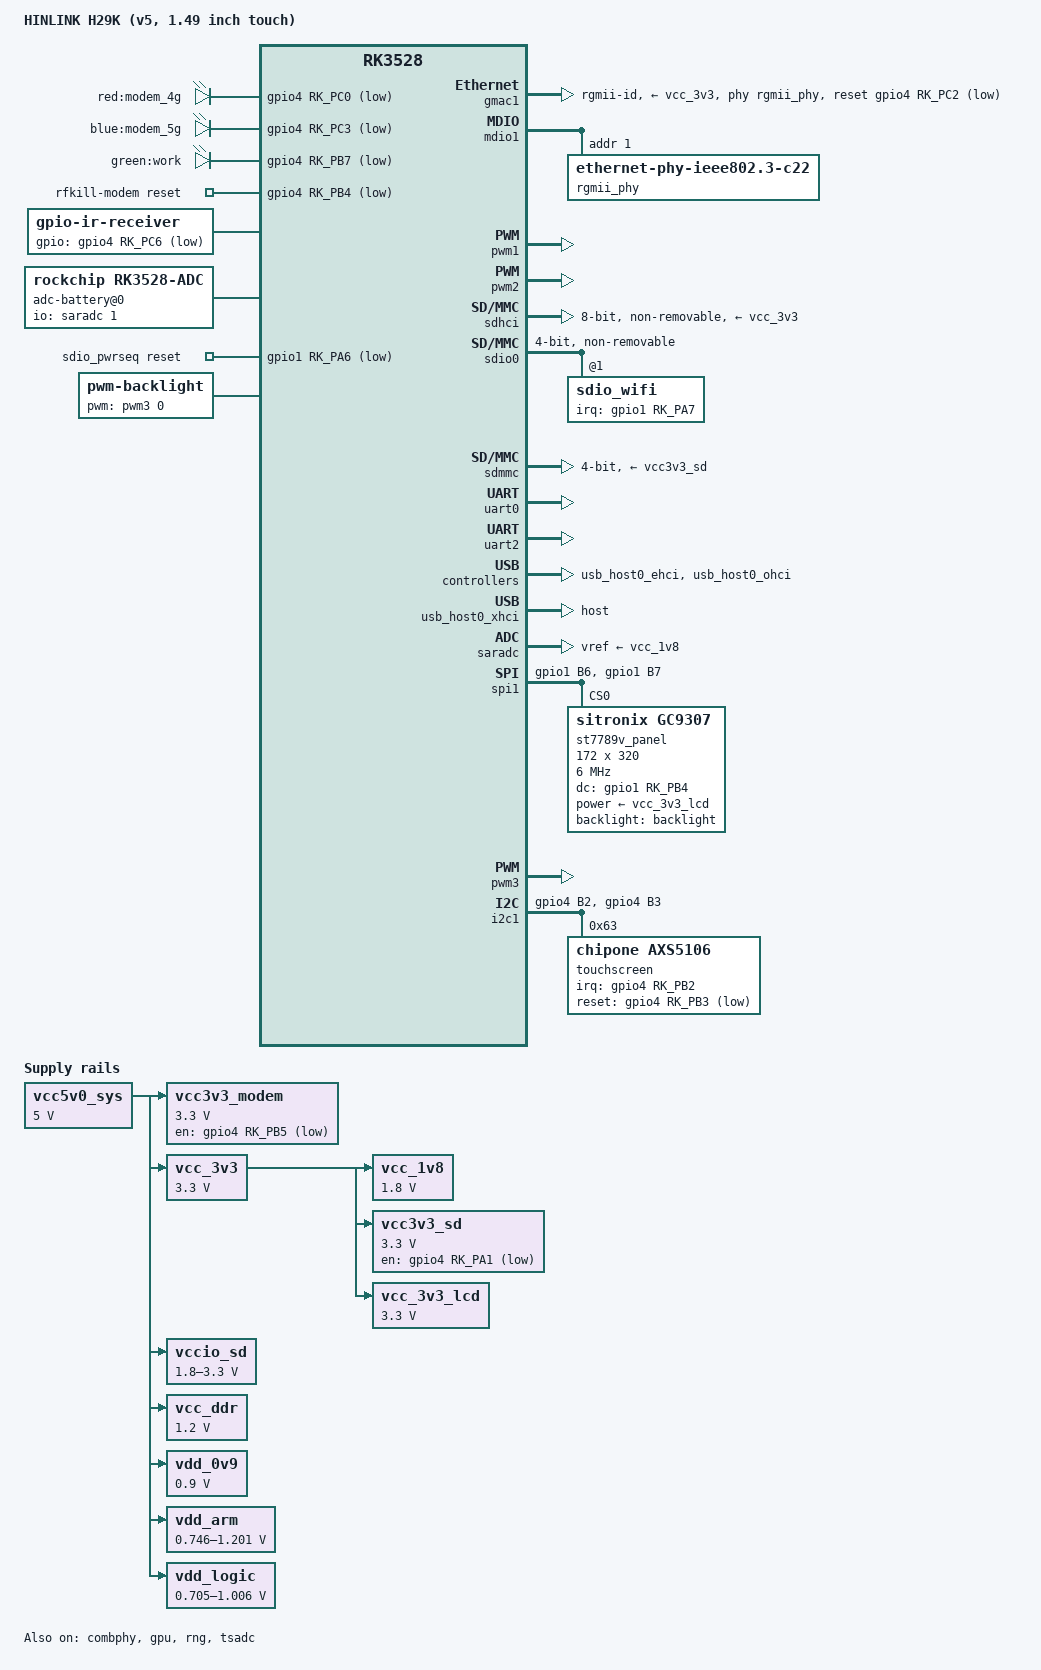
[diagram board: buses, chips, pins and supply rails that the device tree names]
// SPDX-License-Identifier: (GPL-2.0+ OR MIT)
/*
 * HinLink H29K —— v5 主板 + 1.49 寸电容触屏版（172x320 GC9307 + AXS5106）
 *
 * ★ 网络：**单网口** —— 只有板载 RGMII(gmac1)，无 PCIe 网卡节点。
 *   ⇒ board.d/02_network 对本机只映射 eth0。
 *
 * ★ 这是唯一有「真电容触控」的 H29K 变体：
 *   - 屏驱动 sitronix,gc9307（其余 H29K 都是 st7789v）
 *   - 触控 chipone,axs5106 @ I2C1 (0x63)，irq=GPIO4_B2，reset=GPIO4_B3
 *   - 背光从 GPIO 恒亮改成 pwm-backlight（pwm3 / GPIO4_B6，256 级）
 *   参数全部来自厂商 H29K-NEW-UI-20251029 固件解出的 dtb
 *   （已归档为 vendor-h29k-v5-1.49.dtb）。
 */

/dts-v1/;
#include <dt-bindings/gpio/gpio.h>
#include <dt-bindings/pinctrl/rockchip.h>

#include "rk3528.dtsi"

/ {
	model = "HINLINK H29K (v5, 1.49 inch touch)";
	compatible = "hinlink,h29k-v5-149", "hinlink,h29k", "rockchip,rk3528";

	aliases {
		mmc0 = &sdhci;
		mmc1 = &sdmmc;
		mmc2 = &sdio0;
		ethernet0 = &gmac1;

		led-boot = &led_work;
		led-failsafe = &led_work;
		led-running = &led_work;
		led-upgrade = &led_work;

		
	};

	chosen {
		stdout-path = "serial0:1500000n8";
	};

	leds {
		compatible = "gpio-leds";
		pinctrl-names = "default";
		pinctrl-0 = <&modem_4g_led>,<&modem_5g_led>, <&work_led_en>;

		modem_4g: modem_4g {
			label = "red:modem_4g";
			gpios = <&gpio4 RK_PC0 GPIO_ACTIVE_LOW>;
		};

		modem_5g: modem_5g {
			label = "blue:modem_5g";
			gpios = <&gpio4 RK_PC3 GPIO_ACTIVE_LOW>;
		};

		led_work: work {
			label = "green:work";
			gpios = <&gpio4 RK_PB7 GPIO_ACTIVE_LOW>;
		};
	};


	/*
	 * ============ 5G 模组：供电（regulator）+ 复位（rfkill-gpio）============
	 *
	 * 硬件（厂商 H29K 固件 dtb f3_318a000_40194.dtb，
	 * model="HINLINK H29K Board"，逐字段实证）：
	 *
	 *     rfkill-modem {
	 *         compatible = "rfkill-gpio";
	 *         type = "wwan";
	 *         reset-gpios = <&gpio4 RK_PB4 GPIO_ACTIVE_LOW>;   ← 复位
	 *         power-gpios = <&gpio4 RK_PB5 GPIO_ACTIVE_LOW>;   ← 供电
	 *     };
	 *
	 * 厂商这段**不能直接照抄**，两个坑：
	 *   1) `power-gpios` 在 6.18 上**没有任何实现** ——
	 *      net/rfkill/rfkill-gpio.c 只 request `reset` / `shutdown`。
	 *      ⇒ 供电脚 GPIO4_B5 得另找主人，本文件交给 vcc3v3_modem regulator。
	 *   2) 属性名变了：6.18 对 DT 节点读 `label` / `radio-type`，
	 *      厂商写的 `name` / `type` 会被忽略（type 退化成 RFKILL_TYPE_ALL，
	 *      按 type 就找不到设备）。
	 *
	 * 分工（详见 docs/HARDWARE.md §四、§4.9）：
	 *   · `vcc3v3_modem`（regulator，GPIO4_B5）—— 供电，常开
	 *   · `rfkill-modem`（rfkill-gpio，GPIO4_B4）—— 复位，**可软复位**
	 *       用户态：echo 0 > /sys/class/rfkill/rfkillN/state   （拉复位）
	 *               echo 1 > /sys/class/rfkill/rfkillN/state   （释放）
	 *       已封装成 `/etc/init.d/hinlink-modem-hardreset reset`。
	 *
	 * ★★ 极性：只由 `enable-active-high` 决定，不能凭 GPIO_ACTIVE_LOW 猜 ★★
	 *   6.18 的 drivers/gpio/gpiolib-of.c 里有一张极性映射表，注释原文：
	 *     "The regulator GPIO handles are specified such that the presence
	 *      or absence of enable-active-high solely controls the polarity of
	 *      the GPIO line. Any phandle flags must be actively ignored."
	 *   ⇒ 下面的 vcc3v3_modem **不写** enable-active-high = 低电平使能
	 *     （与厂商 rfkill 段里 GPIO_ACTIVE_LOW 表达的意图一致）。
	 *     写了 enable-active-high 会变成高电平使能，模组将无法上电。
	 */
	vcc3v3_modem: vcc3v3-modem {
		compatible = "regulator-fixed";
		regulator-name = "vcc3v3_modem";
		gpio = <&gpio4 RK_PB5 GPIO_ACTIVE_LOW>;   /* 仅语义标注，内核忽略 flag */
		regulator-always-on;
		regulator-boot-on;
		regulator-min-microvolt = <3300000>;
		regulator-max-microvolt = <3300000>;
		startup-delay-us = <5000>;                /* 电源稳定 5ms */
		vin-supply = <&vcc5v0_sys>;
		pinctrl-names = "default";
		pinctrl-0 = <&modem_power_en>;
	};

	/*
	 * ============ 5G 模组复位 —— 交给 rfkill-gpio，换来「软复位」============
	 *
	 * 供电仍由上面的 vcc3v3_modem regulator 负责（内核保证上电）；
	 * 复位脚 GPIO4_B4 交给 rfkill-gpio。
	 *
	 * ★ 为什么要交给 rfkill-gpio：regulator-fixed 和 rfkill-gpio 都会
	 *   **占用**这个 GPIO（用户态 export 必 EBUSY），但 rfkill-gpio 在
	 *   /sys/class/rfkill/ 下留了一个**可写**的 state 属性 ——
	 *   6.18 net/rfkill/core.c: `static DEVICE_ATTR_RW(state)`，其
	 *   state_store() 会调 rfkill_set_block() → rfkill_gpio_set_power()：
	 *
	 *       echo 0 > /sys/class/rfkill/rfkillN/state   → blocked=1
	 *             → gpiod_set_value(reset_gpio, 0)     = 复位有效
	 *       echo 1 > /sys/class/rfkill/rfkillN/state   → blocked=0
	 *             → gpiod_set_value(reset_gpio, 1)     = 复位释放
	 *
	 *   ⇒ 0 → 等一会儿 → 1 就是一次完整的复位脉冲，而且**不需要装
	 *     rfkill 命令**（纯 sysfs）。已封装成 /etc/init.d/hinlink-modem-hardreset reset。
	 *
	 * ⚠️ 属性名必须是 `label` + `radio-type`
	 *   6.18 的 rfkill_gpio_probe() 对 DT 节点读的是：
	 *       name_property = "label";   type_property = "radio-type";
	 *   （只有非 DT 路径才读 "name" / "type"）。
	 *   厂商 dtb 写的是 `type = "wwan"` —— 在老内核有效，在 6.18 **被忽略**，
	 *   type 退化成 RFKILL_TYPE_ALL，按 type 查找就找不到设备了。
	 *
	 * ⚠️ 不要再写 `power-gpios` —— 6.18 的 rfkill-gpio 只 request
	 *   `reset` / `shutdown`，`power` 无任何实现（见 docs/HARDWARE.md §4.4）。
	 */
	rfkill-modem {
		compatible = "rfkill-gpio";
		label = "rfkill-modem";
		radio-type = "wwan";
		reset-gpios = <&gpio4 RK_PB4 GPIO_ACTIVE_LOW>;
		pinctrl-names = "default";
		pinctrl-0 = <&modem_reset_en>;
	};

	ir-receiver {
		compatible = "gpio-ir-receiver";
		gpios = <&gpio4 RK_PC6 GPIO_ACTIVE_LOW>;
		pinctrl-names = "default";
		pinctrl-0 = <&ir_int_pin>;
	};


	// 假设您要读取连接到 ADC 通道 0 的电池电压
    adc-battery@0 {
        compatible = "rockchip,rk3528-adc";
        io-channels = <&saradc 1>; // 指定 ADC 通道编号
        io-channel-names = "battery_voltage"; // 通道名称
        status = "okay";
    };
	

	sdio_pwrseq: sdio-pwrseq {
		compatible = "mmc-pwrseq-simple";
		pinctrl-names = "default";
		pinctrl-0 = <&wifi_enable_h>;
		reset-gpios = <&gpio1 RK_PA6 GPIO_ACTIVE_LOW>;
	};

	vcc5v0_sys: vcc5v0-sys {
		compatible = "regulator-fixed";
		regulator-name = "vcc5v0_sys";
		regulator-always-on;
		regulator-boot-on;
		regulator-min-microvolt = <5000000>;
		regulator-max-microvolt = <5000000>;
	};

	vcc_3v3: vcc-3v3 {
		compatible = "regulator-fixed";
		regulator-name = "vcc_3v3";
		regulator-always-on;
		regulator-boot-on;
		regulator-min-microvolt = <3300000>;
		regulator-max-microvolt = <3300000>;
		vin-supply = <&vcc5v0_sys>;
	};

	vcc_1v8: vcc-1v8 {
		compatible = "regulator-fixed";
		regulator-name = "vcc_1v8";
		regulator-always-on;
		regulator-boot-on;
		regulator-min-microvolt = <1800000>;
		regulator-max-microvolt = <1800000>;
		vin-supply = <&vcc_3v3>;
	};

	vcc3v3_sd: vcc3v3-sd {
		compatible = "regulator-fixed";
		gpio = <&gpio4 RK_PA1 GPIO_ACTIVE_LOW>;
		regulator-name = "vcc3v3_sd";
		regulator-always-on;
		regulator-boot-on;
		regulator-min-microvolt = <3300000>;
		regulator-max-microvolt = <3300000>;
		vin-supply = <&vcc_3v3>;
	};

	vcc_3v3_lcd: vcc-3v3-lcd {
		compatible = "regulator-fixed";
		regulator-name = "vcc_3v3_lcd";
		regulator-min-microvolt = <3300000>;
		regulator-max-microvolt = <3300000>;
		vin-supply = <&vcc_3v3>;
	};

	vccio_sd: vccio-sd {
		compatible = "regulator-gpio";
		gpios = <&gpio4 RK_PB6 GPIO_ACTIVE_HIGH>;
		regulator-name = "vccio_sd";
		regulator-min-microvolt = <1800000>;
		regulator-max-microvolt = <3300000>;
		states = <1800000 0x0>, <3300000 0x1>;
		vin-supply = <&vcc5v0_sys>;
	};

	vcc_ddr: vcc-ddr {
		compatible = "regulator-fixed";
		regulator-name = "vcc_ddr";
		regulator-always-on;
		regulator-boot-on;
		regulator-min-microvolt = <1200000>;
		regulator-max-microvolt = <1200000>;
		vin-supply = <&vcc5v0_sys>;
	};

	vdd_0v9: vdd-0v9 {
		compatible = "regulator-fixed";
		regulator-name = "vdd_0v9";
		regulator-always-on;
		regulator-boot-on;
		regulator-min-microvolt = <900000>;
		regulator-max-microvolt = <900000>;
		vin-supply = <&vcc5v0_sys>;
	};

	vdd_arm: vdd-arm {
		compatible = "pwm-regulator";
		pwms = <&pwm1 0 5000 1>;
		regulator-name = "vdd_arm";
		regulator-min-microvolt = <746000>;
		regulator-max-microvolt = <1201000>;
		regulator-always-on;
		regulator-boot-on;
		regulator-settling-time-up-us = <250>;
		pwm-supply = <&vcc5v0_sys>;
		/*
		 * ★ 厂商 H29K dtb 未提供 ramp-delay，但不加会打
		 *   `vdd_cpu: ramp_delay not set` 警告。
		 *   本机与 H28K/HT2 是同一路 5kHz PWM 调压、
		 *   电压范围逐字节相同（vdd_arm 746~1201000 /
		 *   vdd_logic 705~1006000），故取厂商 H28K 的 6001。
		 */
		regulator-ramp-delay = <6001>;
	};

	vdd_logic: vdd-logic {
		compatible = "pwm-regulator";
		pwms = <&pwm2 0 5000 1>;
		regulator-name = "vdd_logic";
		regulator-min-microvolt = <705000>;
		regulator-max-microvolt = <1006000>;
		regulator-always-on;
		regulator-boot-on;
		regulator-settling-time-up-us = <250>;
		pwm-supply = <&vcc5v0_sys>;
		/*
		 * ★ 厂商 H29K dtb 未提供 ramp-delay，但不加会打
		 *   `vdd_cpu: ramp_delay not set` 警告。
		 *   本机与 H28K/HT2 是同一路 5kHz PWM 调压、
		 *   电压范围逐字节相同（vdd_arm 746~1201000 /
		 *   vdd_logic 705~1006000），故取厂商 H28K 的 6001。
		 */
		regulator-ramp-delay = <6001>;
	};




};

&combphy {
	status = "okay";
};

&cpu0 {
	cpu-supply = <&vdd_arm>;
};

&cpu1 {
	cpu-supply = <&vdd_arm>;
};

&cpu2 {
	cpu-supply = <&vdd_arm>;
};

&cpu3 {
	cpu-supply = <&vdd_arm>;
};

/*
 * ★ 已注释：内核 6.18 的 rk3528.dtsi 里**没有 sfc 节点**
 *   （实测 dtc 报 "Label or path sfc not found"）。
 *   RK3528 是 Linux 6.14 才引入的，该 SoC 的 sfc 支持尚不完整。
 *   保留原文以便内核补齐后直接恢复。
 * &sfc {
 * 	status = "okay";
 * };
 */


&gmac1 {
	clock_in_out = "output";
	pinctrl-names = "default";
	pinctrl-0 = <&rgmii_miim
		     &rgmii_tx_bus2
		     &rgmii_rx_bus2
		     &rgmii_rgmii_clk
		     &rgmii_rgmii_bus>;
	phy-handle = <&rgmii_phy>;
	phy-mode = "rgmii-id";
	phy-supply = <&vcc_3v3>;
	snps,reset-active-low;
	snps,reset-delays-us = <0 20000 100000>;
	snps,reset-gpio = <&gpio4 RK_PC2 GPIO_ACTIVE_LOW>;
	status = "okay";
};

&gpu {
	mali-supply = <&vdd_logic>;
	status = "okay";
};

&mdio1 {
	rgmii_phy: phy@1 {
		compatible = "ethernet-phy-ieee802.3-c22";
		reg = <0x1>;
	};
};

&pinctrl {
	ir {
		ir_int_pin: ir-int-pin {
			rockchip,pins = <4 RK_PC6 RK_FUNC_GPIO &pcfg_pull_up>;
		};
	};

	leds {
		//lan_led_en: lan-led-en {
			//rockchip,pins = <4 RK_PC0 RK_FUNC_GPIO &pcfg_pull_none>;
		//};

		//work_led_en: led-work-en {
			//rockchip,pins = <4 RK_PB7 RK_FUNC_GPIO &pcfg_pull_none>;
		//};

		work_led_en: led-work-en {
			rockchip,pins = <4 RK_PB7 RK_FUNC_GPIO &pcfg_pull_none>;
		};

		modem_4g_led: modem_4g_led{
			rockchip,pins = <4 RK_PC0 RK_FUNC_GPIO &pcfg_pull_none>;
		};

		modem_5g_led: modem_5g_led{
			rockchip,pins = <4 RK_PC3 RK_FUNC_GPIO &pcfg_pull_none>;
		};
	};

	wifi {
		wifi_enable_h: wifi-enable-h {
			rockchip,pins = <1 RK_PA6 RK_FUNC_GPIO &pcfg_pull_none>;
		};

		wifi_host_wake: wifi-host-wake {
			rockchip,pins = <1 RK_PA7 RK_FUNC_GPIO &pcfg_pull_down>;
		};
	};

	bluetooth {
		bt_enable_h: bt-enable-h {
			rockchip,pins = <1 RK_PC1 RK_FUNC_GPIO &pcfg_pull_down>;
		};
		uart2m1_gpios: uart2m1-gpios {
			rockchip,pins = <1 RK_PB2 RK_FUNC_GPIO &pcfg_pull_none>;
		};
	};

	/* 5G 模组：供电 + 复位（GPIO4_B5 / GPIO4_B4，厂商 dtb 实证） */
	modem {
		modem_power_en: modem-power-en {
			rockchip,pins = <4 RK_PB5 RK_FUNC_GPIO &pcfg_pull_none>;
		};

		modem_reset_en: modem-reset-en {
			rockchip,pins = <4 RK_PB4 RK_FUNC_GPIO &pcfg_pull_none>;
		};
	};

	lcd {
		lcd_dc_pin: lcd-dc-pin {
			rockchip,pins = <1 RK_PB4 RK_FUNC_GPIO &pcfg_pull_up_drv_level_6>;
		};

		spi1_custom_pins: spi4-custom-pins {
			rockchip,pins =
				/* spi1_clk_m2 */
				<1 RK_PB6 2 &pcfg_pull_none_drv_level_2>,
				/* spi1_mosi_m2 */
				<1 RK_PB7 2 &pcfg_pull_none_drv_level_2>;
		};

	};

};

&pwm1 {
	status = "okay";
};

&pwm2 {
	status = "okay";
};

&rng {
	status = "okay";
};

&sdhci {
	bus-width = <8>;
	mmc-hs200-1_8v;
	max-frequency = <200000000>;
	non-removable;
	pinctrl-names = "default";
	pinctrl-0 = <&emmc_bus8 &emmc_clk &emmc_cmd &emmc_strb>;
	vmmc-supply = <&vcc_3v3>;
	vqmmc-supply = <&vcc_1v8>;
	status = "okay";
};

&sdio0 {
	#address-cells = <1>;
	#size-cells = <0>;
	bus-width = <4>;
	cap-sd-highspeed;
	cap-sdio-irq;
	keep-power-in-suspend;
	max-frequency = <200000000>;
	mmc-pwrseq = <&sdio_pwrseq>;
	pinctrl-names = "default";
	pinctrl-0 = <&sdio0_bus4 &sdio0_cmd &sdio0_clk>;
	post-power-on-delay-ms = <50>;
	non-removable;
	sd-uhs-sdr104;
	status = "okay";

	sdio_wifi@1 {
		reg = <1>;
		interrupt-parent = <&gpio1>;
		interrupts = <RK_PA7 IRQ_TYPE_LEVEL_HIGH>;
		interrupt-names = "host-wake";
		pinctrl-names = "default";
		pinctrl-0 = <&wifi_host_wake>;
	};
};

&sdmmc {
	bus-width = <4>;
	cap-sd-highspeed;
	disable-wp;
	max-frequency = <150000000>;
	pinctrl-names = "default";
	pinctrl-0 = <&sdmmc_bus4 &sdmmc_clk &sdmmc_cmd &sdmmc_det>;
	rockchip,default-sample-phase = <90>;
	sd-uhs-sdr12;
	sd-uhs-sdr25;
	sd-uhs-sdr50;
	sd-uhs-sdr104;
	vmmc-supply = <&vcc3v3_sd>;
	vqmmc-supply = <&vccio_sd>;
	status = "okay";
};

&tsadc {
	status = "okay";
};

&uart0 {
	pinctrl-names = "default";
	pinctrl-0 = <&uart0m0_xfer>;
	status = "okay";
};

&uart2 {
	pinctrl-names = "default";
	pinctrl-0 = <&uart2m1_xfer &uart2m1_ctsn>;
	status = "okay";
};

/*
 * ★ 已注释：内核 6.18 的 rk3528.dtsi 里**没有 usb2phy 节点**
 *   （实测 dtc 报 "Label or path usb2phy not found"）。
 *   RK3528 自 Linux 6.14 引入，该 SoC 的 USB2 PHY 支持尚不完整。
 *   保留原文以便内核补齐后直接恢复。
 * &usb2phy {
 * 	status = "okay";
 * };
 */

/*
 * ★ 已注释：内核 6.18 的 rk3528.dtsi 里**没有 usb2phy0_host 节点**
 *   （实测 dtc 报 "Label or path usb2phy0_host not found"）。
 *   RK3528 是 Linux 6.14 才引入的，该 SoC 的 usb2phy0_host 支持尚不完整。
 *   保留原文以便内核补齐后直接恢复。
 * &usb2phy0_host {
 * 	phy-supply = <&vcc5v0_sys>;
 * 	status = "okay";
 * };
 */

&usb_host0_ehci {
	status = "okay";
};

&usb_host0_ohci {
	status = "okay";
};

&usb_host0_xhci {
	dr_mode = "host";
	status = "okay";
};

/*
 * ★ 已注释：内核 6.18 的 rk3528.dtsi 里**没有 usb2phy0_otg 节点**
 *   （实测 dtc 报 "Label or path usb2phy0_otg not found"）。
 *   RK3528 自 Linux 6.14 引入，该 SoC 的 USB2 PHY 支持尚不完整。
 *   保留原文以便内核补齐后直接恢复。
 * &usb2phy0_otg {
 * 	phy-supply = <&vcc5v0_sys>;
 * 	vbus-supply = <&vcc_3v3>;
 * 	status = "okay";
 * };
 */


&saradc {
	vref-supply = <&vcc_1v8>;
	status = "okay";
	

	// adc_channel0: adc-channel@0 {
        // rockchip,channel-id = <0>;
        // rockchip,channel-name = "adc0";
        // rockchip,channel-properties = <1>; /* 表示通道 0 用于电池电压测量 */
    // };
};




&spi1 {  // 定义SPI1制器节点
	#address-cells = <1>;  // 定义子节点的地址单元数量为1
	#size-cells = <0>;  // 定义子节点的大小单元数量为0
	assigned-clocks = <&cru CLK_SPI1>;  // 给SPI1分配一个时钟信号
	assigned-clock-rates = <200000000>;  // 为SPI1分配的时钟频率，200MHz
	num-cs = <1>;  // SPI4控制器最多支持1个CS（芯片选择）引脚
	pinctrl-names = "default";  // 定义管脚控制组名称为"default"
	pinctrl-0 = <&spi1_custom_pins>; // 分配SPI引脚和CS引脚
	status = "okay";  // 激活SPI4控制器

	st7789v_panel: panel@0 {
		/*
		 * 1.49 寸电容触屏版 —— 屏参数全部取自厂商 dtb
		 * （vendor-h29k-v5-1.49.dtb，/spi@ff9d0000/panel@0）：
		 *   compatible = sitronix,gc9307   ← 与其他 H29K 的 st7789v 不同
		 *   width  = 172、height = 320、rotate = 270、buswidth = 8
		 *
		 * 原文件里这几项混在三段注释（"1.9 微雪" / "1.9 new" /
		 * "1.9 new 线序不对版本"）之间，启用的那一份看不出是哪段，
		 * 容易误改。此处整理为「厂商原值」一段。
		 *
		 * ⚠️ 偏移量：厂商 dtb 与原厂 patch 都**没有**给1.49 寸的偏移值
		 *   （原厂只给了 1.9" 与 1.14" 两份）。若实机显示位置不对，
		 *   在这里加 x-offset / y-offset 即可（见
		 *   patches/9999-fbtft-read-display-offset-from-dt.patch）。
		 */
		compatible = "sitronix,gc9307";
		reg = <0>;
		power-supply = <&vcc_3v3_lcd>;

		pinctrl-names = "default";
		pinctrl-0 = <&lcd_dc_pin>;
		dc-gpios = <&gpio1 RK_PB4 GPIO_ACTIVE_HIGH>;

		/* 1.49 寸触屏版改用 PWM 调光（256 级），非 GPIO 恒亮 */
		backlight = <&backlight>;

		spi-max-frequency = <6000000>;
		width = <172>;
		height = <320>;
		buswidth = <8>;
		rotate = <270>;
		spi-cpol;
		spi-cpha;

		/* debug: 0-7 */
		debug = <0>;
	};
};

/* ---- 1.49 寸触屏版新增：PWM 背光 ---- */

&pwm3 {
	status = "okay";
	pinctrl-names = "active";
	pinctrl-0 = <&pwm3m0_pins>;
};

&{/} {
	/*
	 * ★ 原来写成顶层裸节点 `backlight: backlight { ... };`，这在 DTS
	 *   语法里是**非法的**（顶层只能是 / { } 或 &label { }），
	 *   dtc 会报 syntax error。改为挂到根节点下。
	 */
	backlight: backlight {
		compatible = "pwm-backlight";
		pinctrl-names = "backlight";
		pwms = <&pwm3 0 25000>;   /* 厂商原值：pwm3 通道0，25kHz */
		brightness-levels = <0 1 2 3 4 5 6 7 8 9 10 11 12 13 14 15
			16 17 18 19 20 21 22 23 24 25 26 27 28 29 30 31 32 33
			34 35 36 37 38 39 40 41 42 43 44 45 46 47 48 49 50 51
			52 53 54 55 56 57 58 59 60 61 62 63 64 65 66 67 68 69
			70 71 72 73 74 75 76 77 78 79 80 81 82 83 84 85 86 87
			88 89 90 91 92 93 94 95 96 97 98 99 100 101 102 103
			104 105 106 107 108 109 110 111 112 113 114 115 116 117
			118 119 120 121 122 123 124 125 126 127 128 129 130 131
			132 133 134 135 136 137 138 139 140 141 142 143 144 145
			146 147 148 149 150 151 152 153 154 155 156 157 158 159
			160 161 162 163 164 165 166 167 168 169 170 171 172 173
			174 175 176 177 178 179 180 181 182 183 184 185 186 187
			188 189 190 191 192 193 194 195 196 197 198 199 200 201
			202 203 204 205 206 207 208 209 210 211 212 213 214 215
			216 217 218 219 220 221 222 223 224 225 226 227 228 229
			230 231 232 233 234 235 236 237 238 239 240 241 242 243
			244 245 246 247 248 249 250 251 252 253 254 255>;
		default-brightness-level = <153>;
	};
};

&pinctrl {
	pwmpanel {
	};

	touchscreen {
		tp_int_pin: tp-int-pin {
			rockchip,pins = <4 RK_PB2 RK_FUNC_GPIO &pcfg_pull_none>;
		};

		tp_reset_pin: tp-reset-pin {
			rockchip,pins = <4 RK_PB3 RK_FUNC_GPIO &pcfg_pull_none>;
		};
	};
};

/* ---- 1.49 寸触屏版新增：AXS5106 电容触控（I2C1 @ 0x63）---- */

&i2c1 {
	pinctrl-names = "default";
	pinctrl-0 = <&i2c1m0_xfer &tp_int_pin &tp_reset_pin>;
	status = "okay";

	touchscreen@63 {
		compatible = "chipone,axs5106";
		reg = <0x63>;
		interrupt-parent = <&gic>;
		interrupts = <RK_PB2 IRQ_TYPE_LEVEL_HIGH>;
		interrupt-names = "touchscreen";
		irq-gpios = <&gpio4 RK_PB2 GPIO_ACTIVE_HIGH>;
		reset-gpios = <&gpio4 RK_PB3 GPIO_ACTIVE_LOW>;
		touchscreen-size-x = <172>;
		touchscreen-size-y = <320>;
		touchscreen-inverted-x;
		touchscreen-inverted-y;
		status = "okay";
	};
};
